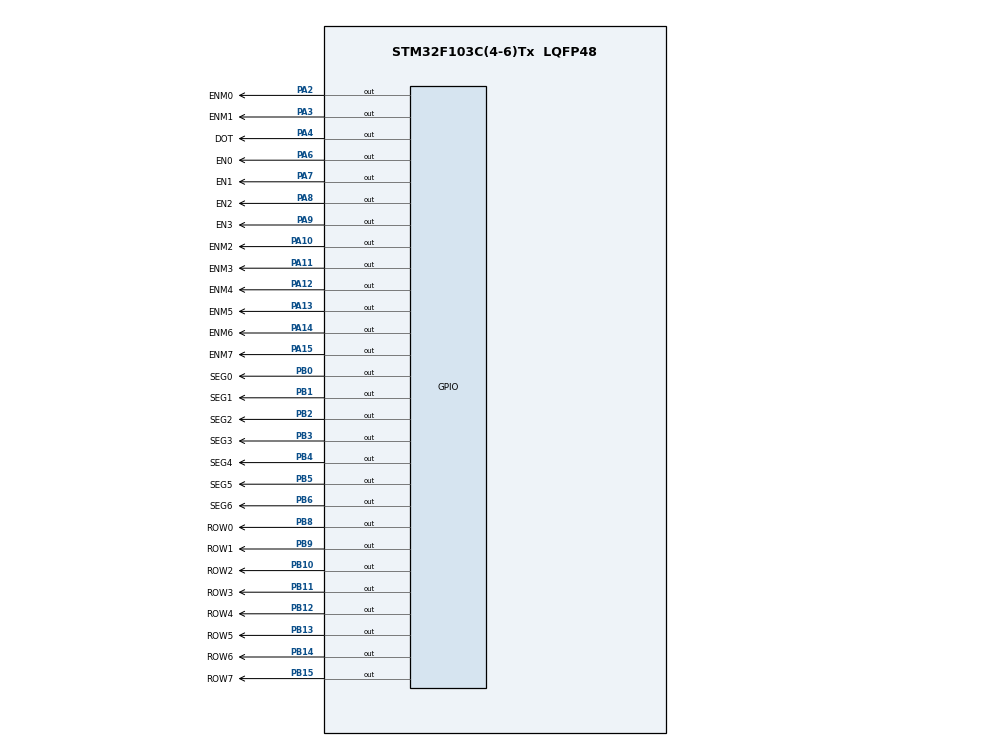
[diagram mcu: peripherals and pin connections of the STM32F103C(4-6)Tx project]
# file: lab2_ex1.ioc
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Mcu.Family=STM32F1
Mcu.Name=STM32F103C(4-6)Tx
Mcu.Package=LQFP48
NVIC.PriorityGroup=NVIC_PRIORITYGROUP_4
NVIC.TIM2_IRQn=true\:0\:0\:false\:false\:true\:true\:true
PA10.GPIO_Label=ENM2
PA10.Signal=GPIO_Output
PA11.GPIO_Label=ENM3
PA11.Signal=GPIO_Output
PA12.GPIO_Label=ENM4
PA12.Signal=GPIO_Output
PA13.GPIO_Label=ENM5
PA13.Signal=GPIO_Output
PA14.GPIO_Label=ENM6
PA14.Signal=GPIO_Output
PA15.GPIO_Label=ENM7
PA15.Signal=GPIO_Output
PA2.GPIO_Label=ENM0
PA2.Signal=GPIO_Output
PA3.GPIO_Label=ENM1
PA3.Signal=GPIO_Output
PA4.GPIO_Label=DOT
PA4.Signal=GPIO_Output
PA6.GPIO_Label=EN0
PA6.Signal=GPIO_Output
PA7.GPIO_Label=EN1
PA7.Signal=GPIO_Output
PA8.GPIO_Label=EN2
PA8.Signal=GPIO_Output
PA9.GPIO_Label=EN3
PA9.Signal=GPIO_Output
PB0.GPIO_Label=SEG0
PB0.Signal=GPIO_Output
PB1.GPIO_Label=SEG1
PB1.Signal=GPIO_Output
PB10.GPIO_Label=ROW2
PB10.Signal=GPIO_Output
PB11.GPIO_Label=ROW3
PB11.Signal=GPIO_Output
PB12.GPIO_Label=ROW4
PB12.Signal=GPIO_Output
PB13.GPIO_Label=ROW5
PB13.Signal=GPIO_Output
PB14.GPIO_Label=ROW6
PB14.Signal=GPIO_Output
PB15.GPIO_Label=ROW7
PB15.Signal=GPIO_Output
PB2.GPIO_Label=SEG2
PB2.Signal=GPIO_Output
PB3.GPIO_Label=SEG3
PB3.Signal=GPIO_Output
PB4.GPIO_Label=SEG4
PB4.Signal=GPIO_Output
PB5.GPIO_Label=SEG5
PB5.Signal=GPIO_Output
PB6.GPIO_Label=SEG6
PB6.Signal=GPIO_Output
PB8.GPIO_Label=ROW0
PB8.Signal=GPIO_Output
PB9.GPIO_Label=ROW1
PB9.Signal=GPIO_Output
ProjectManager.HeapSize=0x200
ProjectManager.StackSize=0x400
ProjectManager.TargetToolchain=STM32CubeIDE
RCC.APB1Freq_Value=8000000
RCC.APB2Freq_Value=8000000
TIM2.Period=9
TIM2.Prescaler=7999
VP_SYS_VS_ND.Mode=No_Debug
VP_TIM2_VS_ClockSourceINT.Mode=Internal
board=custom

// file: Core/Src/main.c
/* USER CODE BEGIN Header */
/**
  ******************************************************************************
  * @file           : main.c
  * @brief          : Main program body
  ******************************************************************************
  * @attention
  *
  * <h2><center>&copy; Copyright (c) 2023 STMicroelectronics.
  * All rights reserved.</center></h2>
  *
  * This software component is licensed by ST under BSD 3-Clause license,
  * the "License"; You may not use this file except in compliance with the
  * License. You may obtain a copy of the License at:
  *                        opensource.org/licenses/BSD-3-Clause
  *
  ******************************************************************************
  */
/* USER CODE END Header */
#include "main.h"

/* USER CODE BEGIN Includes */
#include "software_timer.h"
/* USER CODE END Includes */

TIM_HandleTypeDef htim2;

/* USER CODE BEGIN PV */
uint16_t cot[8]= {ENM0_Pin,ENM1_Pin,ENM2_Pin,ENM3_Pin,ENM4_Pin,ENM5_Pin,ENM6_Pin,ENM7_Pin};
uint16_t hang[8]= {ROW0_Pin,ROW1_Pin,ROW2_Pin,ROW3_Pin,ROW4_Pin,ROW5_Pin,ROW6_Pin,ROW7_Pin};
const int MAX_LED_MATRIX = 8;
int index_led_matrix = 0;
uint8_t matrix_buffer[8] = { 0xF8,0xFC,0x36,0x33,0x33,0x36,0xFC,0xF8};
/* USER CODE END PV */

void SystemClock_Config(void);
static void MX_GPIO_Init(void);
static void MX_TIM2_Init(void);
/* USER CODE BEGIN PFP */
void updateLEDMatrix(int index);
void writeByte(uint16_t* pins, uint8_t byte, GPIO_TypeDef* port);
/* USER CODE END PFP */

int main(void)
{

  /* MCU Configuration--------------------------------------------------------*/

  /* Reset of all peripherals, Initializes the Flash interface and the Systick. */
  HAL_Init();

  /* Configure the system clock */
  SystemClock_Config();

  /* Initialize all configured peripherals */
  MX_GPIO_Init();
  MX_TIM2_Init();
  /* USER CODE BEGIN 2 */
  HAL_TIM_Base_Start_IT(&htim2);
  /* USER CODE END 2 */

  /* Infinite loop */
  /* USER CODE BEGIN WHILE */
  setTimer1(100);
  updateLEDMatrix(7);
  int index_led = 0;
  while (1)
  {
	  if (timer1_flag == 1){
		  updateLEDMatrix(index_led++);
		  if (index_led == 8){
			  setTimer1(10);
		  }
		  else if (index_led < 8){
			  setTimer1(5);
		  }
		  if ( index_led >= 8 ){
			  index_led = 0;
		  }
	  }
    /* USER CODE END WHILE */

  }
}

void SystemClock_Config(void)
{
  RCC_OscInitTypeDef RCC_OscInitStruct = {0};
  RCC_ClkInitTypeDef RCC_ClkInitStruct = {0};

  /** Initializes the RCC Oscillators according to the specified parameters
  * in the RCC_OscInitTypeDef structure.
  */
  RCC_OscInitStruct.OscillatorType = RCC_OSCILLATORTYPE_HSI;
  RCC_OscInitStruct.HSIState = RCC_HSI_ON;
  RCC_OscInitStruct.HSICalibrationValue = RCC_HSICALIBRATION_DEFAULT;
  RCC_OscInitStruct.PLL.PLLState = RCC_PLL_NONE;
  if (HAL_RCC_OscConfig(&RCC_OscInitStruct) != HAL_OK)
  {
    Error_Handler();
  }
  /** Initializes the CPU, AHB and APB buses clocks
  */
  RCC_ClkInitStruct.ClockType = RCC_CLOCKTYPE_HCLK|RCC_CLOCKTYPE_SYSCLK
                              |RCC_CLOCKTYPE_PCLK1|RCC_CLOCKTYPE_PCLK2;
  RCC_ClkInitStruct.SYSCLKSource = RCC_SYSCLKSOURCE_HSI;
  RCC_ClkInitStruct.AHBCLKDivider = RCC_SYSCLK_DIV1;
  RCC_ClkInitStruct.APB1CLKDivider = RCC_HCLK_DIV1;
  RCC_ClkInitStruct.APB2CLKDivider = RCC_HCLK_DIV1;

  if (HAL_RCC_ClockConfig(&RCC_ClkInitStruct, FLASH_LATENCY_0) != HAL_OK)
  {
    Error_Handler();
  }
}

static void MX_TIM2_Init(void)
{

  TIM_ClockConfigTypeDef sClockSourceConfig = {0};
  TIM_MasterConfigTypeDef sMasterConfig = {0};

  htim2.Instance = TIM2;
  htim2.Init.Prescaler = 7999;
  htim2.Init.CounterMode = TIM_COUNTERMODE_UP;
  htim2.Init.Period = 9;
  htim2.Init.ClockDivision = TIM_CLOCKDIVISION_DIV1;
  htim2.Init.AutoReloadPreload = TIM_AUTORELOAD_PRELOAD_DISABLE;
  if (HAL_TIM_Base_Init(&htim2) != HAL_OK)
  {
    Error_Handler();
  }
  sClockSourceConfig.ClockSource = TIM_CLOCKSOURCE_INTERNAL;
  if (HAL_TIM_ConfigClockSource(&htim2, &sClockSourceConfig) != HAL_OK)
  {
    Error_Handler();
  }
  sMasterConfig.MasterOutputTrigger = TIM_TRGO_RESET;
  sMasterConfig.MasterSlaveMode = TIM_MASTERSLAVEMODE_DISABLE;
  if (HAL_TIMEx_MasterConfigSynchronization(&htim2, &sMasterConfig) != HAL_OK)
  {
    Error_Handler();
  }

}

static void MX_GPIO_Init(void)
{
  GPIO_InitTypeDef GPIO_InitStruct = {0};

  /* GPIO Ports Clock Enable */
  __HAL_RCC_GPIOA_CLK_ENABLE();
  __HAL_RCC_GPIOB_CLK_ENABLE();

  /*Configure GPIO pin Output Level */
  HAL_GPIO_WritePin(GPIOA, ENM0_Pin|ENM1_Pin|DOT_Pin|EN0_Pin
                          |EN1_Pin|EN2_Pin|EN3_Pin|ENM2_Pin
                          |ENM3_Pin|ENM4_Pin|ENM5_Pin|ENM6_Pin
                          |ENM7_Pin, GPIO_PIN_RESET);

  /*Configure GPIO pin Output Level */
  HAL_GPIO_WritePin(GPIOB, SEG0_Pin|SEG1_Pin|SEG2_Pin|ROW2_Pin
                          |ROW3_Pin|ROW4_Pin|ROW5_Pin|ROW6_Pin
                          |ROW7_Pin|SEG3_Pin|SEG4_Pin|SEG5_Pin
                          |SEG6_Pin|ROW0_Pin|ROW1_Pin, GPIO_PIN_RESET);

  /*Configure GPIO pins : ENM0_Pin ENM1_Pin DOT_Pin EN0_Pin
                           EN1_Pin EN2_Pin EN3_Pin ENM2_Pin
                           ENM3_Pin ENM4_Pin ENM5_Pin ENM6_Pin
                           ENM7_Pin */
  GPIO_InitStruct.Pin = ENM0_Pin|ENM1_Pin|DOT_Pin|EN0_Pin
                          |EN1_Pin|EN2_Pin|EN3_Pin|ENM2_Pin
                          |ENM3_Pin|ENM4_Pin|ENM5_Pin|ENM6_Pin
                          |ENM7_Pin;
  GPIO_InitStruct.Mode = GPIO_MODE_OUTPUT_PP;
  GPIO_InitStruct.Pull = GPIO_NOPULL;
  GPIO_InitStruct.Speed = GPIO_SPEED_FREQ_LOW;
  HAL_GPIO_Init(GPIOA, &GPIO_InitStruct);

  /*Configure GPIO pins : SEG0_Pin SEG1_Pin SEG2_Pin ROW2_Pin
                           ROW3_Pin ROW4_Pin ROW5_Pin ROW6_Pin
                           ROW7_Pin SEG3_Pin SEG4_Pin SEG5_Pin
                           SEG6_Pin ROW0_Pin ROW1_Pin */
  GPIO_InitStruct.Pin = SEG0_Pin|SEG1_Pin|SEG2_Pin|ROW2_Pin
                          |ROW3_Pin|ROW4_Pin|ROW5_Pin|ROW6_Pin
                          |ROW7_Pin|SEG3_Pin|SEG4_Pin|SEG5_Pin
                          |SEG6_Pin|ROW0_Pin|ROW1_Pin;
  GPIO_InitStruct.Mode = GPIO_MODE_OUTPUT_PP;
  GPIO_InitStruct.Pull = GPIO_NOPULL;
  GPIO_InitStruct.Speed = GPIO_SPEED_FREQ_LOW;
  HAL_GPIO_Init(GPIOB, &GPIO_InitStruct);

}

/* USER CODE BEGIN 4 */
void HAL_TIM_PeriodElapsedCallback(TIM_HandleTypeDef *htim){
	timerRun();
}
void writeByte(uint16_t* pins, uint8_t byte, GPIO_TypeDef* port){
	HAL_GPIO_WritePin(port, pins[0], byte & (uint8_t)0x01);
	HAL_GPIO_WritePin(port, pins[1], byte & (uint8_t)0x02);
	HAL_GPIO_WritePin(port, pins[2], byte & (uint8_t)0x04);
	HAL_GPIO_WritePin(port, pins[3], byte & (uint8_t)0x08);
	HAL_GPIO_WritePin(port, pins[4], byte & (uint8_t)0x10);
	HAL_GPIO_WritePin(port, pins[5], byte & (uint8_t)0x20);
	HAL_GPIO_WritePin(port, pins[6], byte & (uint8_t)0x40);
	HAL_GPIO_WritePin(port, pins[7], byte & (uint8_t)0x80);
}
void updateLEDMatrix(int index){
	switch (index){
	case 0:
		writeByte(cot, ~0X01, ENM0_GPIO_Port);
		writeByte(hang, ~matrix_buffer[index], ROW0_GPIO_Port);
		break;
	case 1:
		writeByte(cot, ~0X02, ENM0_GPIO_Port);
		writeByte(hang, ~matrix_buffer[index], ROW0_GPIO_Port);
		break;
	case 2:
		writeByte(cot, ~0X04, ENM0_GPIO_Port);
		writeByte(hang, ~matrix_buffer[index], ROW0_GPIO_Port);
		break;
	case 3:
		writeByte(cot, ~0X08, ENM0_GPIO_Port);
		writeByte(hang, ~matrix_buffer[index], ROW0_GPIO_Port);
		break;
	case 4:
		writeByte(cot, ~0X10, ENM0_GPIO_Port);
		writeByte(hang, ~matrix_buffer[index], ROW0_GPIO_Port);
		break;
	case 5:
		writeByte(cot, ~0X20, ENM0_GPIO_Port);
		writeByte(hang, ~matrix_buffer[index], ROW0_GPIO_Port);
		break;
	case 6:
		writeByte(cot, ~0X40, ENM0_GPIO_Port);
		writeByte(hang, ~matrix_buffer[index], ROW0_GPIO_Port);
		break;
	case 7:
		writeByte(cot, (uint8_t)~0X80, ENM0_GPIO_Port);
		writeByte(hang, ~matrix_buffer[index], ROW0_GPIO_Port);
		break;
	default:
		break;
	}
}
/* USER CODE END 4 */

void Error_Handler(void)
{
  __disable_irq();
  while (1)
  {
  }
}

/************************ (C) COPYRIGHT STMicroelectronics *****END OF FILE****/
